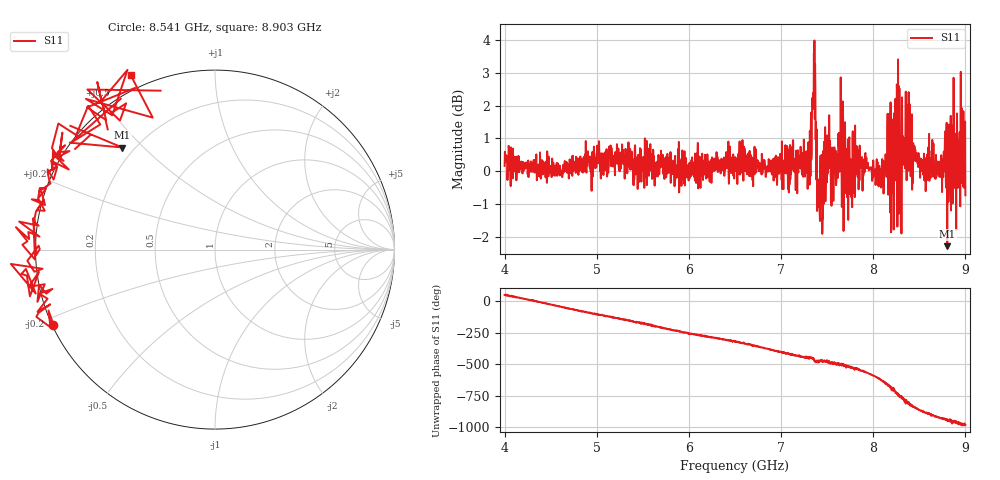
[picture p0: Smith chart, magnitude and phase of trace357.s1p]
! Created with skrf 1.8.0 (http://scikit-rf.org).
# Hz S RI R 50.0
!freq ReS11 ImS11
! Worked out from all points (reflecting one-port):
!   1601 points, 4 GHz to 9 GHz, reference 50 ohm
!   lowest |S11| = -2.3 dB at 8.803 GHz (marker M1), VSWR 7.62, Z = 7.83 + j21.7 ohm
!   phase of S11 starts at 51 deg and turns -1033 deg over the sweep
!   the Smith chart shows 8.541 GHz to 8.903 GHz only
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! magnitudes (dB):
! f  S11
! 4 GHz  0.2
! 4.625 GHz  -0.2
! 5.25 GHz  0.0
! 5.875 GHz  0.0
! 6.5 GHz  0.1
! 7.125 GHz  0.2
! 7.294 GHz  0.4
! 7.347 GHz  2.4
! 7.362 GHz  4.0
! 7.4 GHz  -0.4
! 7.416 GHz  -1.0
! 7.512 GHz  0.9
! 7.572 GHz  -0.1
! 7.647 GHz  2.9
! 7.75 GHz  -0.5
! 7.8 GHz  -0.8
! 8.097 GHz  0.4
! 8.156 GHz  1.8
! 8.209 GHz  0.0
! 8.259 GHz  2.3
! 8.316 GHz  0.8
! 8.334 GHz  1.0
! 8.375 GHz  0.5
! 8.425 GHz  0.2
! 8.556 GHz  -0.3
! 8.803 GHz  -2.3
! 8.972 GHz  0.8
! 9 GHz  -0.7
